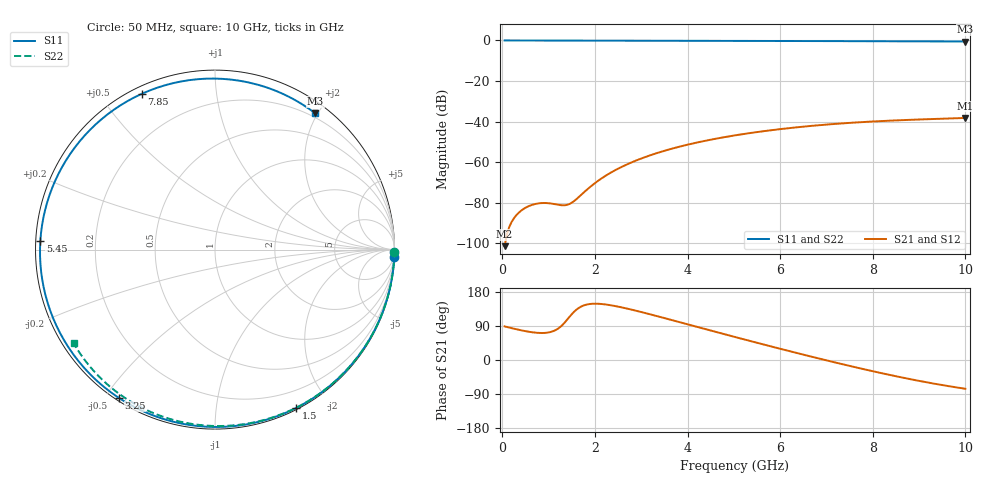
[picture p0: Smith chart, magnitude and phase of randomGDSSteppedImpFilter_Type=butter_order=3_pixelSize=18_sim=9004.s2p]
! freq	dB(S11)	phase(S11)	dB(S12)	phase(S12)
!  dB(S21)	phase(S21)	dB(S22)	phase(S22)
!S-par simulation data
#  GHz  S  DB  R 50
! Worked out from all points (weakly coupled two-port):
!   200 points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, 50 MHz to 10 GHz, reference 50 ohm
!   highest |S21| = -38.20 dB at 10 GHz (marker M1); lowest = -101.4 dB at 50 MHz (marker M2)
!   lowest |S11| = -0.5 dB at 10 GHz (marker M3), VSWR 33.68, Z = 7.26 + j98.4 ohm
!   |S11| at or under -10 dB: nowhere
!   |S22| runs from -0.5 to 0.0 dB; largest |S21 - S12| = 0
!   S11 on the Smith chart (normalised r, x): 50 MHz: 0, -52; 1.5 GHz: 0.02, -1.63; 3.25 GHz: 0.01, -0.54; 5.45 GHz: 0.01, +0.03; 7.85 GHz: 0.03, +0.64; 10 GHz: 0.15, +1.97
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0.05  -0.00 -2.2  -101.38 88.7  -101.38 88.7  -0.00 -0.9
0.35  -0.02 -15.3  -85.00 79.9  -85.00 79.9  -0.01 -5.9
0.7  -0.04 -30.3  -80.66 72.3  -80.66 72.3  -0.02 -11.8
1.1  -0.06 -47.0  -80.52 76.1  -80.52 76.1  -0.02 -18.6
1.5  -0.08 -63.0  -79.97 120.8  -79.97 120.8  -0.03 -25.2
1.75  -0.09 -72.5  -75.12 143.6  -75.12 143.6  -0.04 -29.3
2.05  -0.10 -83.5  -69.47 148.5  -69.47 148.5  -0.04 -34.2
2.4  -0.11 -95.8  -64.41 143.3  -64.41 143.3  -0.05 -39.9
2.8  -0.12 -109.0  -60.01 132.7  -60.01 132.7  -0.06 -46.3
3.25  -0.14 -123.0  -56.17 118.8  -56.17 118.8  -0.07 -53.4
3.4  -0.14 -127.5  -55.07 113.9  -55.07 113.9  -0.07 -55.7
4.2  -0.17 -150.2  -50.33 87.7  -50.33 87.7  -0.10 -67.9
5.05  -0.21 -172.7  -46.68 59.9  -46.68 59.9  -0.12 -80.4
5.45  -0.23 177.0  -45.31 47.0  -45.31 47.0  -0.14 -86.1
6.05  -0.26 161.8  -43.57 28.1  -43.57 28.1  -0.17 -94.5
6.7  -0.30 145.3  -42.05 8.1  -42.05 8.1  -0.20 -103.4
7.3  -0.33 129.7  -40.94 -9.8  -40.94 -9.8  -0.24 -111.4
7.85  -0.36 115.1  -40.13 -25.5  -40.13 -25.5  -0.28 -118.7
8.35  -0.39 101.4  -39.55 -39.0  -39.55 -39.0  -0.32 -125.2
9.15  -0.45 78.7  -38.83 -58.6  -38.83 -58.6  -0.40 -135.5
9.55  -0.48 67.0  -38.53 -67.2  -38.53 -67.2  -0.44 -140.6
10  -0.52 53.7  -38.20 -75.9  -38.20 -75.9  -0.49 -146.4
